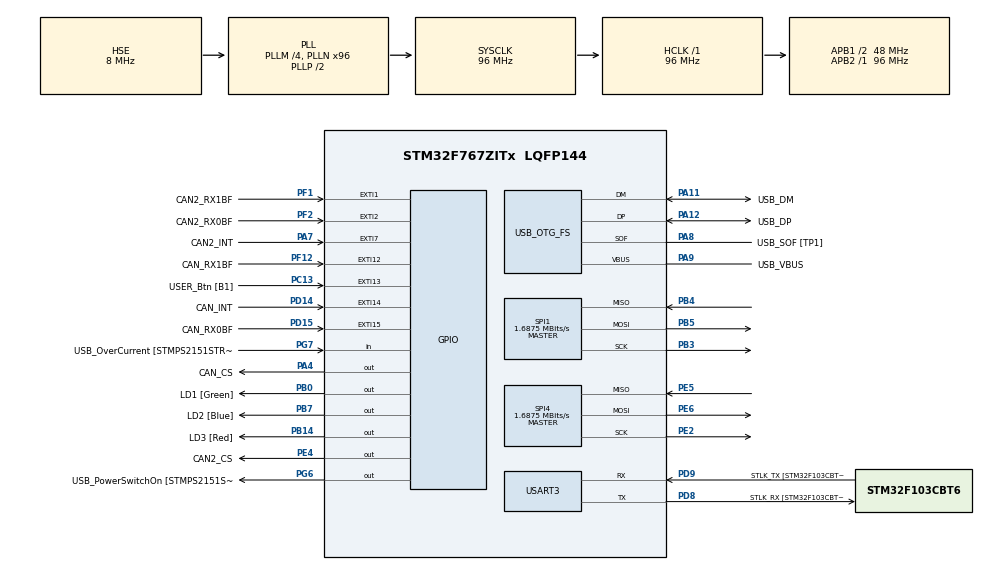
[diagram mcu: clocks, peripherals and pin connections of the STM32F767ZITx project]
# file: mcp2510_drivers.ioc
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FREERTOS.Tasks01=defaultTask,24,128,StartDefaultTask,Default,NULL,Dynamic,NULL,NULL
FREERTOS.configUSE_NEWLIB_REENTRANT=1
Mcu.Family=STM32F7
Mcu.Name=STM32F767ZITx
Mcu.Package=LQFP144
NVIC.EXTI15_10_IRQn=true\:5\:0\:false\:false\:true\:true\:true\:true\:true
NVIC.EXTI1_IRQn=true\:5\:0\:false\:false\:true\:true\:true\:true\:true
NVIC.EXTI2_IRQn=true\:5\:0\:false\:false\:true\:true\:true\:true\:true
NVIC.EXTI9_5_IRQn=true\:5\:0\:false\:false\:true\:true\:true\:true\:true
NVIC.PriorityGroup=NVIC_PRIORITYGROUP_4
NVIC.TIM2_IRQn=true\:15\:0\:false\:false\:true\:false\:false\:true\:true
NVIC.TimeBase=TIM2_IRQn
NVIC.TimeBaseIP=TIM2
PA1.GPIO_Label=RMII_REF_CLK [LAN8742A-CZ-TR_REFCLK0]
PA1.Signal=ETH_REF_CLK
PA10.GPIO_Label=USB_ID
PA10.Signal=USB_OTG_FS_ID
PA11.GPIO_Label=USB_DM
PA11.Mode=Device_Only
PA11.Signal=USB_OTG_FS_DM
PA12.GPIO_Label=USB_DP
PA12.Mode=Device_Only
PA12.Signal=USB_OTG_FS_DP
PA13.GPIO_Label=TMS
PA13.Mode=Serial_Wire
PA13.Signal=SYS_JTMS-SWDIO
PA14.GPIO_Label=TCK
PA14.Mode=Serial_Wire
PA14.Signal=SYS_JTCK-SWCLK
PA2.GPIO_Label=RMII_MDIO [LAN8742A-CZ-TR_MDIO]
PA2.Signal=ETH_MDIO
PA4.GPIO_Label=CAN_CS
PA4.PinState=GPIO_PIN_SET
PA4.Signal=GPIO_Output
PA7.GPIO_Label=CAN2_INT
PA7.GPIO_ModeDefaultEXTI=GPIO_MODE_IT_FALLING
PA7.Signal=GPXTI7
PA8.GPIO_Label=USB_SOF [TP1]
PA8.Mode=Activate_SOF_FS
PA8.Signal=USB_OTG_FS_SOF
PA9.GPIO_Label=USB_VBUS
PA9.Mode=Activate_VBUS
PA9.Signal=USB_OTG_FS_VBUS
PB0.GPIO_Label=LD1 [Green]
PB0.Signal=GPIO_Output
PB13.GPIO_Label=RMII_TXD1 [LAN8742A-CZ-TR_TXD1]
PB13.Signal=ETH_TXD1
PB14.GPIO_Label=LD3 [Red]
PB14.Signal=GPIO_Output
PB3.Mode=Full_Duplex_Master
PB3.Signal=SPI1_SCK
PB4.Mode=Full_Duplex_Master
PB4.Signal=SPI1_MISO
PB5.Mode=Full_Duplex_Master
PB5.Signal=SPI1_MOSI
PB7.GPIO_Label=LD2 [Blue]
PB7.Signal=GPIO_Output
PC1.GPIO_Label=RMII_MDC [LAN8742A-CZ-TR_MDC]
PC1.Signal=ETH_MDC
PC13.GPIO_Label=USER_Btn [B1]
PC13.Signal=GPXTI13
PC14/OSC32_IN.Signal=RCC_OSC32_IN
PC15/OSC32_OUT.Signal=RCC_OSC32_OUT
PC4.GPIO_Label=RMII_RXD0 [LAN8742A-CZ-TR_RXD0]
PC4.Signal=ETH_RXD0
PC5.GPIO_Label=RMII_RXD1 [LAN8742A-CZ-TR_RXD1]
PC5.Signal=ETH_RXD1
PD14.GPIO_Label=CAN_INT
PD14.GPIO_ModeDefaultEXTI=GPIO_MODE_IT_FALLING
PD14.Signal=GPXTI14
PD15.GPIO_Label=CAN_RX0BF
PD15.Signal=GPXTI15
PD8.GPIO_Label=STLK_RX [STM32F103CBT6_PA3]
PD8.Mode=Asynchronous
PD8.Signal=USART3_TX
PD9.GPIO_Label=STLK_TX [STM32F103CBT6_PA2]
PD9.Mode=Asynchronous
PD9.Signal=USART3_RX
PE2.Mode=Full_Duplex_Master
PE2.Signal=SPI4_SCK
PE4.GPIO_Label=CAN2_CS
PE4.PinState=GPIO_PIN_SET
PE4.Signal=GPIO_Output
PE5.Mode=Full_Duplex_Master
PE5.Signal=SPI4_MISO
PE6.Mode=Full_Duplex_Master
PE6.Signal=SPI4_MOSI
PF1.GPIO_Label=CAN2_RX1BF
PF1.GPIO_ModeDefaultEXTI=GPIO_MODE_IT_RISING
PF1.Signal=GPXTI1
PF12.GPIO_Label=CAN_RX1BF
PF12.Signal=GPXTI12
PF2.GPIO_Label=CAN2_RX0BF
PF2.GPIO_ModeDefaultEXTI=GPIO_MODE_IT_RISING
PF2.Signal=GPXTI2
PG11.GPIO_Label=RMII_TX_EN [LAN8742A-CZ-TR_TXEN]
PG11.Signal=ETH_TX_EN
PG13.GPIO_Label=RMII_TXD0 [LAN8742A-CZ-TR_TXD0]
PG13.Signal=ETH_TXD0
PG6.GPIO_Label=USB_PowerSwitchOn [STMPS2151STR_EN]
PG6.Signal=GPIO_Output
PG7.GPIO_Label=USB_OverCurrent [STMPS2151STR_FAULT]
PG7.Signal=GPIO_Input
PH0/OSC_IN.GPIO_Label=MCO [STM32F103CBT6_PA8]
PH0/OSC_IN.Mode=HSE-External-Clock-Source
PH0/OSC_IN.Signal=RCC_OSC_IN
PH1/OSC_OUT.Mode=HSE-External-Clock-Source
PH1/OSC_OUT.Signal=RCC_OSC_OUT
ProjectManager.HeapSize=0x200
ProjectManager.StackSize=0x400
ProjectManager.TargetToolchain=STM32CubeIDE
RCC.48MHZClocksFreq_Value=24000000
RCC.AHBFreq_Value=96000000
RCC.APB1CLKDivider=RCC_HCLK_DIV2
RCC.APB1Freq_Value=48000000
RCC.APB1TimFreq_Value=96000000
RCC.APB2Freq_Value=96000000
RCC.APB2TimFreq_Value=96000000
RCC.CortexFreq_Value=96000000
RCC.HCLKFreq_Value=96000000
RCC.HSE_VALUE=8000000
RCC.HSI_VALUE=16000000
RCC.LSE_VALUE=32768
RCC.PLLM=4
RCC.PLLMUL=RCC_PLL_MUL9
RCC.PLLN=96
RCC.PLLQ=4
RCC.PRESCALERUSB=RCC_USBCLKSOURCE_PLL_DIV1_5
RCC.SYSCLKFreq_VALUE=96000000
RCC.SYSCLKSource=RCC_SYSCLKSOURCE_PLLCLK
RCC.SYSCLKSourceVirtual=RCC_SYSCLKSOURCE_PLLCLK
RCC.USBFreq_Value=48000000
RCC.VCOOutputFreq_Value=192000000
SPI1.BaudRatePrescaler=SPI_BAUDRATEPRESCALER_64
SPI1.CalculateBaudRate=1.6875 MBits/s
SPI1.DataSize=SPI_DATASIZE_8BIT
SPI1.Direction=SPI_DIRECTION_2LINES
SPI1.Mode=SPI_MODE_MASTER
SPI1.VirtualType=VM_MASTER
SPI4.BaudRatePrescaler=SPI_BAUDRATEPRESCALER_64
SPI4.CalculateBaudRate=1.6875 MBits/s
SPI4.DataSize=SPI_DATASIZE_8BIT
SPI4.Direction=SPI_DIRECTION_2LINES
SPI4.Mode=SPI_MODE_MASTER
SPI4.VirtualType=VM_MASTER
USART3.VirtualMode-Asynchronous=VM_ASYNC
USB_OTG_FS.VirtualMode=Device_Only
VP_FREERTOS_VS_CMSIS_V2.Mode=CMSIS_V2
VP_SYS_VS_tim2.Mode=TIM2
board=NUCLEO-F767ZI

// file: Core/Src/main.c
/* USER CODE BEGIN Header */
/**
  ******************************************************************************
  * @file           : main.c
  * @brief          : Main program body
  ******************************************************************************
  * @attention
  *
  * Copyright (c) 2024 STMicroelectronics.
  * All rights reserved.
  *
  * This software is licensed under terms that can be found in the LICENSE file
  * in the root directory of this software component.
  * If no LICENSE file comes with this software, it is provided AS-IS.
  *
  ******************************************************************************
  */
/* USER CODE END Header */
#include "main.h"
#include "cmsis_os.h"

/* USER CODE BEGIN Includes */
#include "CAN.h"
#include "CANTxGatekeeperTask.h"
#include "CANRxMessageTask.h"
#include "CANClearInterruptTask.h"

#include "queueMessageTask.h"
/* USER CODE END Includes */

/* USER CODE BEGIN PD */
#define CAN_INTERRUPT_QUEUE_COUNT 12 // anticipate 2 sudden messages + 1 for extra room
#define CAN_TRANSMIT_QUEUE_COUNT 10
#define CAN_RECEIVE_QUEUE_COUNT 5
#define DEFAULT_TASK_STACK_SIZE 128 * 10
/* USER CODE END PD */

SPI_HandleTypeDef hspi1;
SPI_HandleTypeDef hspi4;

UART_HandleTypeDef huart3;

PCD_HandleTypeDef hpcd_USB_OTG_FS;

/* Definitions for defaultTask */
osThreadId_t defaultTaskHandle;
const osThreadAttr_t defaultTask_attributes = {
  .name = "defaultTask",
  .stack_size = 128 * 4,
  .priority = (osPriority_t) osPriorityNormal,
};
/* USER CODE BEGIN PV */

// osThreadId_t queueMessageTask1Handle;
// const osThreadAttr_t queueMessageTask1_attributes = {
//   .name = "queueMessageTask1",
//   .priority = (osPriority_t) osPriorityLow,
//   .stack_size = DEFAULT_TASK_STACK_SIZE
// };

osThreadId_t queueMessageTask2Handle;
const osThreadAttr_t queueMessageTask2_attributes = {
	.name = "queueMessageTask2",
	.priority = (osPriority_t) osPriorityLow,
	.stack_size = DEFAULT_TASK_STACK_SIZE
};

/* Definition for CANTxGateKeeperTask */
osMutexId_t CANTxGateKeeperTaskHandle;
const osThreadAttr_t CANTxGateKeeperTask_attributes = {
  .name = "CANTxGateKeeperTask",
  .priority = (osPriority) osPriorityBelowNormal,
  .stack_size = DEFAULT_TASK_STACK_SIZE
};

/* Definitions for CANRXInterruptTask */
osThreadId_t CANRxMessageTaskHandle;
const osThreadAttr_t CANRxMessageTask_attributes = {
  .name = "CANRxMessageTask",
  .priority = (osPriority_t) osPriorityNormal,
  .stack_size = DEFAULT_TASK_STACK_SIZE
};

/* Definition for CANClearInterruptTask */
osThreadId_t CANClearInterruptTaskHandle;
const osThreadAttr_t CANClearInterruptTask_attributes = {
  .name = " CANClearInterruptTask",
  .priority = (osPriority_t) osPriorityAboveNormal,
  .stack_size = DEFAULT_TASK_STACK_SIZE
};

/* Definition for SPIMutex */
osMutexId_t SPIMutexHandle;
const osMutexAttr_t SPIMutex_attributes = {
  .name = "SPIMutex"
};

/* Queue Definitions*/
osMessageQueueId_t CANTxMessageQueue;
osMessageQueueId_t CANRxMessageQueue;
osMessageQueueId_t CANInterruptQueue;

/* CAN Peripherals - Temporary */
CANPeripheral peripheral1 = {
  .CS_PORT= CAN_CS_GPIO_Port,
  .CS_PIN = CAN_CS_Pin,
  .hspi = &hspi1
};

CANPeripheral peripheral2 = {
  .CS_PORT= CAN2_CS_GPIO_Port,
  .CS_PIN = CAN2_CS_Pin,
  .hspi = &hspi4
};

/* More Temporary Buffers, flags, etc */

/* CANReadInterruptFlag - Read the CANINTF register */
uint8_t CANReadInterruptFlag = 0;

// RX flags
uint8_t RX0Flag = 0;
uint8_t RX1Flag = 0;

/* RXnBuffers - Buffers for each of the Rx channels to dump */
ReceiveMsg RX0Buffer;
ReceiveMsg RX1Buffer;

/* TXBnStatus Flags - Used to know which Tx Buffers are free */
uint8_t TXB0StatusFlag = 1;
uint8_t TXB1StatusFlag = 1;
uint8_t TXB2StatusFlag = 1;

volatile uint8_t CAN_FINISH_CONFIG_FLAG = 0;
// Example CAN message struct for testing
CANMsg msg1 = {
	.DLC = 1,
	.ID = 0,
	.extendedID = 0xCFCFCFC,
	.data = {0xCC}
};
/* USER CODE END PV */

void SystemClock_Config(void);
static void MX_GPIO_Init(void);
static void MX_USART3_UART_Init(void);
static void MX_USB_OTG_FS_PCD_Init(void);
static void MX_SPI1_Init(void);
static void MX_SPI4_Init(void);
void StartDefaultTask(void *argument);

int main(void)
{

  /* MCU Configuration--------------------------------------------------------*/

  /* Reset of all peripherals, Initializes the Flash interface and the Systick. */
  HAL_Init();

  /* Configure the system clock */
  SystemClock_Config();

  /* Initialize all configured peripherals */
  MX_GPIO_Init();
  MX_USART3_UART_Init();
  MX_USB_OTG_FS_PCD_Init();
  MX_SPI1_Init();
  MX_SPI4_Init();
  /* USER CODE BEGIN 2 */

  // Configure CAN IC
  ConfigureCANSPI(&peripheral1);
  // ConfigureCANSPI(&peripheral2);
  CAN_FINISH_CONFIG_FLAG = 1;

  /* USER CODE END 2 */

  /* Init scheduler */
  osKernelInitialize();

  /* USER CODE BEGIN RTOS_MUTEX */
  /* add mutexes, ... */

  /* SPI Mutex */
  SPIMutexHandle = osMutexNew(&SPIMutex_attributes);

  /* USER CODE END RTOS_MUTEX */

  /* USER CODE BEGIN RTOS_QUEUES */
  /* add queues, ... */
  // CANInterruptQueue = osMessageQueueNew(CAN_INTERRUPT_QUEUE_COUNT, sizeof(CAN_INTERRUPT), NULL);
  CANTxMessageQueue = osMessageQueueNew(CAN_TRANSMIT_QUEUE_COUNT, sizeof(CANMsg), NULL);
  CANRxMessageQueue = osMessageQueueNew(CAN_RECEIVE_QUEUE_COUNT, sizeof(uint16_t), NULL);
  /* USER CODE END RTOS_QUEUES */

  /* Create the thread(s) */
  /* creation of defaultTask */
  // defaultTaskHandle = osThreadNew(StartDefaultTask, NULL, &defaultTask_attributes);

  /* USER CODE BEGIN RTOS_THREADS */
  /* add threads, ... */

  /* Creation of CANClearTask */
  // CANClearInterruptTaskHandle = osThreadNew(CANClearInterruptTask, NULL, &CANClearInterruptTask_attributes);

  /* Creation of CANRxMessageTask */
  CANRxMessageTaskHandle = osThreadNew(CANRxMessageTask, NULL, &CANRxMessageTask_attributes);

  /* Creation of CANRxMessageTask */
  // CANRxMessageTaskHandle_1 = osThreadNew(CANRxMessageTask1, NULL, &CANRxMessageTask_attributes_1);

  /* Creation of CANTxGatekeeperTask */
  CANTxGateKeeperTaskHandle = osThreadNew(CANTxGatekeeperTask, NULL, &CANTxGateKeeperTask_attributes);

  /* Creation of queueMessageTask2 */
  queueMessageTask2Handle = osThreadNew(queueMessageTask2, NULL, &queueMessageTask2_attributes);

  /* USER CODE END RTOS_THREADS */

  /* Start scheduler */
  osKernelStart();

  /* We should never get here as control is now taken by the scheduler */

  /* Infinite loop */
  while (1)
  {

  }
}

void SystemClock_Config(void)
{
  RCC_OscInitTypeDef RCC_OscInitStruct = {0};
  RCC_ClkInitTypeDef RCC_ClkInitStruct = {0};

  /** Configure the main internal regulator output voltage
  */
  __HAL_RCC_PWR_CLK_ENABLE();
  __HAL_PWR_VOLTAGESCALING_CONFIG(PWR_REGULATOR_VOLTAGE_SCALE3);

  /** Initializes the RCC Oscillators according to the specified parameters
  * in the RCC_OscInitTypeDef structure.
  */
  RCC_OscInitStruct.OscillatorType = RCC_OSCILLATORTYPE_HSE;
  RCC_OscInitStruct.HSEState = RCC_HSE_BYPASS;
  RCC_OscInitStruct.PLL.PLLState = RCC_PLL_ON;
  RCC_OscInitStruct.PLL.PLLSource = RCC_PLLSOURCE_HSE;
  RCC_OscInitStruct.PLL.PLLM = 4;
  RCC_OscInitStruct.PLL.PLLN = 96;
  RCC_OscInitStruct.PLL.PLLP = RCC_PLLP_DIV2;
  RCC_OscInitStruct.PLL.PLLQ = 4;
  RCC_OscInitStruct.PLL.PLLR = 2;
  if (HAL_RCC_OscConfig(&RCC_OscInitStruct) != HAL_OK)
  {
    Error_Handler();
  }

  /** Activate the Over-Drive mode
  */
  if (HAL_PWREx_EnableOverDrive() != HAL_OK)
  {
    Error_Handler();
  }

  /** Initializes the CPU, AHB and APB buses clocks
  */
  RCC_ClkInitStruct.ClockType = RCC_CLOCKTYPE_HCLK|RCC_CLOCKTYPE_SYSCLK
                              |RCC_CLOCKTYPE_PCLK1|RCC_CLOCKTYPE_PCLK2;
  RCC_ClkInitStruct.SYSCLKSource = RCC_SYSCLKSOURCE_PLLCLK;
  RCC_ClkInitStruct.AHBCLKDivider = RCC_SYSCLK_DIV1;
  RCC_ClkInitStruct.APB1CLKDivider = RCC_HCLK_DIV2;
  RCC_ClkInitStruct.APB2CLKDivider = RCC_HCLK_DIV1;

  if (HAL_RCC_ClockConfig(&RCC_ClkInitStruct, FLASH_LATENCY_3) != HAL_OK)
  {
    Error_Handler();
  }
}

static void MX_SPI1_Init(void)
{

  /* SPI1 parameter configuration*/
  hspi1.Instance = SPI1;
  hspi1.Init.Mode = SPI_MODE_MASTER;
  hspi1.Init.Direction = SPI_DIRECTION_2LINES;
  hspi1.Init.DataSize = SPI_DATASIZE_8BIT;
  hspi1.Init.CLKPolarity = SPI_POLARITY_LOW;
  hspi1.Init.CLKPhase = SPI_PHASE_1EDGE;
  hspi1.Init.NSS = SPI_NSS_SOFT;
  hspi1.Init.BaudRatePrescaler = SPI_BAUDRATEPRESCALER_64;
  hspi1.Init.FirstBit = SPI_FIRSTBIT_MSB;
  hspi1.Init.TIMode = SPI_TIMODE_DISABLE;
  hspi1.Init.CRCCalculation = SPI_CRCCALCULATION_DISABLE;
  hspi1.Init.CRCPolynomial = 7;
  hspi1.Init.CRCLength = SPI_CRC_LENGTH_DATASIZE;
  hspi1.Init.NSSPMode = SPI_NSS_PULSE_ENABLE;
  if (HAL_SPI_Init(&hspi1) != HAL_OK)
  {
    Error_Handler();
  }

}

static void MX_SPI4_Init(void)
{

  /* SPI4 parameter configuration*/
  hspi4.Instance = SPI4;
  hspi4.Init.Mode = SPI_MODE_MASTER;
  hspi4.Init.Direction = SPI_DIRECTION_2LINES;
  hspi4.Init.DataSize = SPI_DATASIZE_8BIT;
  hspi4.Init.CLKPolarity = SPI_POLARITY_LOW;
  hspi4.Init.CLKPhase = SPI_PHASE_1EDGE;
  hspi4.Init.NSS = SPI_NSS_SOFT;
  hspi4.Init.BaudRatePrescaler = SPI_BAUDRATEPRESCALER_64;
  hspi4.Init.FirstBit = SPI_FIRSTBIT_MSB;
  hspi4.Init.TIMode = SPI_TIMODE_DISABLE;
  hspi4.Init.CRCCalculation = SPI_CRCCALCULATION_DISABLE;
  hspi4.Init.CRCPolynomial = 7;
  hspi4.Init.CRCLength = SPI_CRC_LENGTH_DATASIZE;
  hspi4.Init.NSSPMode = SPI_NSS_PULSE_ENABLE;
  if (HAL_SPI_Init(&hspi4) != HAL_OK)
  {
    Error_Handler();
  }

}

static void MX_USART3_UART_Init(void)
{

  huart3.Instance = USART3;
  huart3.Init.BaudRate = 115200;
  huart3.Init.WordLength = UART_WORDLENGTH_8B;
  huart3.Init.StopBits = UART_STOPBITS_1;
  huart3.Init.Parity = UART_PARITY_NONE;
  huart3.Init.Mode = UART_MODE_TX_RX;
  huart3.Init.HwFlowCtl = UART_HWCONTROL_NONE;
  huart3.Init.OverSampling = UART_OVERSAMPLING_16;
  huart3.Init.OneBitSampling = UART_ONE_BIT_SAMPLE_DISABLE;
  huart3.AdvancedInit.AdvFeatureInit = UART_ADVFEATURE_NO_INIT;
  if (HAL_UART_Init(&huart3) != HAL_OK)
  {
    Error_Handler();
  }

}

static void MX_USB_OTG_FS_PCD_Init(void)
{

  hpcd_USB_OTG_FS.Instance = USB_OTG_FS;
  hpcd_USB_OTG_FS.Init.dev_endpoints = 6;
  hpcd_USB_OTG_FS.Init.speed = PCD_SPEED_FULL;
  hpcd_USB_OTG_FS.Init.dma_enable = DISABLE;
  hpcd_USB_OTG_FS.Init.phy_itface = PCD_PHY_EMBEDDED;
  hpcd_USB_OTG_FS.Init.Sof_enable = ENABLE;
  hpcd_USB_OTG_FS.Init.low_power_enable = DISABLE;
  hpcd_USB_OTG_FS.Init.lpm_enable = DISABLE;
  hpcd_USB_OTG_FS.Init.vbus_sensing_enable = ENABLE;
  hpcd_USB_OTG_FS.Init.use_dedicated_ep1 = DISABLE;
  if (HAL_PCD_Init(&hpcd_USB_OTG_FS) != HAL_OK)
  {
    Error_Handler();
  }

}

static void MX_GPIO_Init(void)
{
  GPIO_InitTypeDef GPIO_InitStruct = {0};

  /* GPIO Ports Clock Enable */
  __HAL_RCC_GPIOE_CLK_ENABLE();
  __HAL_RCC_GPIOC_CLK_ENABLE();
  __HAL_RCC_GPIOF_CLK_ENABLE();
  __HAL_RCC_GPIOH_CLK_ENABLE();
  __HAL_RCC_GPIOA_CLK_ENABLE();
  __HAL_RCC_GPIOB_CLK_ENABLE();
  __HAL_RCC_GPIOD_CLK_ENABLE();
  __HAL_RCC_GPIOG_CLK_ENABLE();

  /*Configure GPIO pin Output Level */
  HAL_GPIO_WritePin(CAN2_CS_GPIO_Port, CAN2_CS_Pin, GPIO_PIN_SET);

  /*Configure GPIO pin Output Level */
  HAL_GPIO_WritePin(CAN_CS_GPIO_Port, CAN_CS_Pin, GPIO_PIN_SET);

  /*Configure GPIO pin Output Level */
  HAL_GPIO_WritePin(GPIOB, LD1_Pin|LD3_Pin|LD2_Pin, GPIO_PIN_RESET);

  /*Configure GPIO pin Output Level */
  HAL_GPIO_WritePin(USB_PowerSwitchOn_GPIO_Port, USB_PowerSwitchOn_Pin, GPIO_PIN_RESET);

  /*Configure GPIO pin : CAN2_CS_Pin */
  GPIO_InitStruct.Pin = CAN2_CS_Pin;
  GPIO_InitStruct.Mode = GPIO_MODE_OUTPUT_PP;
  GPIO_InitStruct.Pull = GPIO_NOPULL;
  GPIO_InitStruct.Speed = GPIO_SPEED_FREQ_LOW;
  HAL_GPIO_Init(CAN2_CS_GPIO_Port, &GPIO_InitStruct);

  /*Configure GPIO pin : USER_Btn_Pin */
  GPIO_InitStruct.Pin = USER_Btn_Pin;
  GPIO_InitStruct.Mode = GPIO_MODE_IT_RISING;
  GPIO_InitStruct.Pull = GPIO_NOPULL;
  HAL_GPIO_Init(USER_Btn_GPIO_Port, &GPIO_InitStruct);

  /*Configure GPIO pins : CAN2_RX1BF_Pin CAN2_RX0BF_Pin CAN_RX1BF_Pin */
  GPIO_InitStruct.Pin = CAN2_RX1BF_Pin|CAN2_RX0BF_Pin|CAN_RX1BF_Pin;
  GPIO_InitStruct.Mode = GPIO_MODE_IT_RISING;
  GPIO_InitStruct.Pull = GPIO_NOPULL;
  HAL_GPIO_Init(GPIOF, &GPIO_InitStruct);

  /*Configure GPIO pins : RMII_MDC_Pin RMII_RXD0_Pin RMII_RXD1_Pin */
  GPIO_InitStruct.Pin = RMII_MDC_Pin|RMII_RXD0_Pin|RMII_RXD1_Pin;
  GPIO_InitStruct.Mode = GPIO_MODE_AF_PP;
  GPIO_InitStruct.Pull = GPIO_NOPULL;
  GPIO_InitStruct.Speed = GPIO_SPEED_FREQ_VERY_HIGH;
  GPIO_InitStruct.Alternate = GPIO_AF11_ETH;
  HAL_GPIO_Init(GPIOC, &GPIO_InitStruct);

  /*Configure GPIO pins : RMII_REF_CLK_Pin RMII_MDIO_Pin */
  GPIO_InitStruct.Pin = RMII_REF_CLK_Pin|RMII_MDIO_Pin;
  GPIO_InitStruct.Mode = GPIO_MODE_AF_PP;
  GPIO_InitStruct.Pull = GPIO_NOPULL;
  GPIO_InitStruct.Speed = GPIO_SPEED_FREQ_VERY_HIGH;
  GPIO_InitStruct.Alternate = GPIO_AF11_ETH;
  HAL_GPIO_Init(GPIOA, &GPIO_InitStruct);

  /*Configure GPIO pin : CAN_CS_Pin */
  GPIO_InitStruct.Pin = CAN_CS_Pin;
  GPIO_InitStruct.Mode = GPIO_MODE_OUTPUT_PP;
  GPIO_InitStruct.Pull = GPIO_NOPULL;
  GPIO_InitStruct.Speed = GPIO_SPEED_FREQ_LOW;
  HAL_GPIO_Init(CAN_CS_GPIO_Port, &GPIO_InitStruct);

  /*Configure GPIO pin : CAN2_INT_Pin */
  GPIO_InitStruct.Pin = CAN2_INT_Pin;
  GPIO_InitStruct.Mode = GPIO_MODE_IT_FALLING;
  GPIO_InitStruct.Pull = GPIO_NOPULL;
  HAL_GPIO_Init(CAN2_INT_GPIO_Port, &GPIO_InitStruct);

  /*Configure GPIO pins : LD1_Pin LD3_Pin LD2_Pin */
  GPIO_InitStruct.Pin = LD1_Pin|LD3_Pin|LD2_Pin;
  GPIO_InitStruct.Mode = GPIO_MODE_OUTPUT_PP;
  GPIO_InitStruct.Pull = GPIO_NOPULL;
  GPIO_InitStruct.Speed = GPIO_SPEED_FREQ_LOW;
  HAL_GPIO_Init(GPIOB, &GPIO_InitStruct);

  /*Configure GPIO pin : RMII_TXD1_Pin */
  GPIO_InitStruct.Pin = RMII_TXD1_Pin;
  GPIO_InitStruct.Mode = GPIO_MODE_AF_PP;
  GPIO_InitStruct.Pull = GPIO_NOPULL;
  GPIO_InitStruct.Speed = GPIO_SPEED_FREQ_VERY_HIGH;
  GPIO_InitStruct.Alternate = GPIO_AF11_ETH;
  HAL_GPIO_Init(RMII_TXD1_GPIO_Port, &GPIO_InitStruct);

  /*Configure GPIO pin : CAN_INT_Pin */
  GPIO_InitStruct.Pin = CAN_INT_Pin;
  GPIO_InitStruct.Mode = GPIO_MODE_IT_FALLING;
  GPIO_InitStruct.Pull = GPIO_NOPULL;
  HAL_GPIO_Init(CAN_INT_GPIO_Port, &GPIO_InitStruct);

  /*Configure GPIO pin : CAN_RX0BF_Pin */
  GPIO_InitStruct.Pin = CAN_RX0BF_Pin;
  GPIO_InitStruct.Mode = GPIO_MODE_IT_RISING;
  GPIO_InitStruct.Pull = GPIO_NOPULL;
  HAL_GPIO_Init(CAN_RX0BF_GPIO_Port, &GPIO_InitStruct);

  /*Configure GPIO pin : USB_PowerSwitchOn_Pin */
  GPIO_InitStruct.Pin = USB_PowerSwitchOn_Pin;
  GPIO_InitStruct.Mode = GPIO_MODE_OUTPUT_PP;
  GPIO_InitStruct.Pull = GPIO_NOPULL;
  GPIO_InitStruct.Speed = GPIO_SPEED_FREQ_LOW;
  HAL_GPIO_Init(USB_PowerSwitchOn_GPIO_Port, &GPIO_InitStruct);

  /*Configure GPIO pin : USB_OverCurrent_Pin */
  GPIO_InitStruct.Pin = USB_OverCurrent_Pin;
  GPIO_InitStruct.Mode = GPIO_MODE_INPUT;
  GPIO_InitStruct.Pull = GPIO_NOPULL;
  HAL_GPIO_Init(USB_OverCurrent_GPIO_Port, &GPIO_InitStruct);

  /*Configure GPIO pins : RMII_TX_EN_Pin RMII_TXD0_Pin */
  GPIO_InitStruct.Pin = RMII_TX_EN_Pin|RMII_TXD0_Pin;
  GPIO_InitStruct.Mode = GPIO_MODE_AF_PP;
  GPIO_InitStruct.Pull = GPIO_NOPULL;
  GPIO_InitStruct.Speed = GPIO_SPEED_FREQ_VERY_HIGH;
  GPIO_InitStruct.Alternate = GPIO_AF11_ETH;
  HAL_GPIO_Init(GPIOG, &GPIO_InitStruct);

  /* EXTI interrupt init*/
  HAL_NVIC_SetPriority(EXTI1_IRQn, 5, 0);
  HAL_NVIC_EnableIRQ(EXTI1_IRQn);

  HAL_NVIC_SetPriority(EXTI2_IRQn, 5, 0);
  HAL_NVIC_EnableIRQ(EXTI2_IRQn);

  HAL_NVIC_SetPriority(EXTI9_5_IRQn, 5, 0);
  HAL_NVIC_EnableIRQ(EXTI9_5_IRQn);

  HAL_NVIC_SetPriority(EXTI15_10_IRQn, 5, 0);
  HAL_NVIC_EnableIRQ(EXTI15_10_IRQn);

}

/* USER CODE BEGIN 4 */

void HAL_GPIO_EXTI_Callback(uint16_t GPIO_Pin)
{
//	if (CAN_FINISH_CONFIG_FLAG) {
//		osStatus_t status;
//		switch (GPIO_Pin) {
//			case CAN_INT_Pin:
//				// read the CANINTF register
//				CANReadInterruptFlag = 1;
//			case CAN_RX0BF_Pin:
//				RX0Flag = 1;
//				status = osMessageQueuePut(CANRxMessageQueue, &GPIO_Pin, 0, 0);
//			case CAN_RX1BF_Pin:
//				RX1Flag = 1;
//				status = osMessageQueuePut(CANRxMessageQueue, &GPIO_Pin, 0, 0);
//	//		case CAN2_INT_Pin:
//	//			// read the CANITNF register
//	//		case CAN2_RX0BF_Pin:
//	//			// osMessageQueuePut(mq_id, msg_ptr, msg_prio, osWaitForever);
//	//		case CAN2_RX1BF_Pin:
//	//			// osMessageQueuePut(mq_id, msg_ptr, msg_prio, osWaitForever);
//		}
//	}

	if (CAN_FINISH_CONFIG_FLAG) {
		osStatus_t status;
		switch (GPIO_Pin) {
			case CAN_RX0BF_Pin:
				// RX0Flag = 1;
				status = osMessageQueuePut(CANRxMessageQueue, &GPIO_Pin, 0U, 0U);
				break;
			case CAN_RX1BF_Pin:
				// RX1Flag = 1;
				status = osMessageQueuePut(CANRxMessageQueue, &GPIO_Pin, 0U, 0U);
				break;
		}
	}
}

/* USER CODE END 4 */

void StartDefaultTask(void *argument)
{
  /* USER CODE BEGIN 5 */
  /* Infinite loop */
  for(;;)
  {
    // osDelay(1);
  }
  /* USER CODE END 5 */
}

void HAL_TIM_PeriodElapsedCallback(TIM_HandleTypeDef *htim)
{
  if (htim->Instance == TIM2) {
    HAL_IncTick();
  }
}

void Error_Handler(void)
{
  __disable_irq();
  while (1)
  {
  }
}
